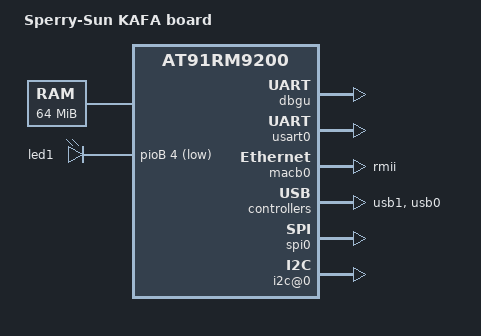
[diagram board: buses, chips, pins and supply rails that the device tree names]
/*
 * at91-kafa.dts - Device Tree file for Sperry-Sun KAFA boar
 *
 * Copyright (C) 2013 Jean-Christophe PLAGNIOL-VILLARD <plagnioj@jcrosoft.com>
 *
 * Licensed under GPLv2 only
 */
/dts-v1/;
#include "at91rm9200_pqfp.dtsi"

/ {
	model = "Sperry-Sun KAFA board";
	compatible = "sperry,kafa", "atmel,at91rm9200-pqfp", "atmel,at91rm9200";

	memory {
		reg = <0x20000000 0x4000000>;
	};

	clocks {
		#address-cells = <1>;
		#size-cells = <1>;
		ranges;

		main_clock: clock@0 {
			compatible = "atmel,osc", "fixed-clock";
			clock-frequency = <18432000>;
		};
	};

	ahb {
		apb {
			dbgu: serial@fffff200 {
				status = "okay";
			};

			usart0: serial@fffc0000 {
				pinctrl-0 =
						<&pinctrl_uart0
						 &pinctrl_uart0_rts
						 &pinctrl_uart0_cts>;
				status = "okay";
			};

			macb0: ethernet@fffbc000 {
				phy-mode = "rmii";
				status = "okay";
			};

			usb1: gadget@fffb0000 {
				atmel,vbus-gpio = <&pioB 6 GPIO_ACTIVE_HIGH>;
				atmel,pullup-gpio = <&pioB 7 GPIO_ACTIVE_HIGH>;
				status = "okay";
			};

			spi0: spi@fffe0000 {
				status = "okay";
			};
		};

		usb0: ohci@00300000 {
			num-ports = <1>;
			status = "okay";
		};
	};

	leds {
		compatible = "gpio-leds";

		led1 {
			label = "led1";
			gpios = <&pioB 4 GPIO_ACTIVE_LOW>;
			linux,default-trigger = "heartbeat";
		};
	};

	i2c@0 {
		status = "okay";
	};
};
